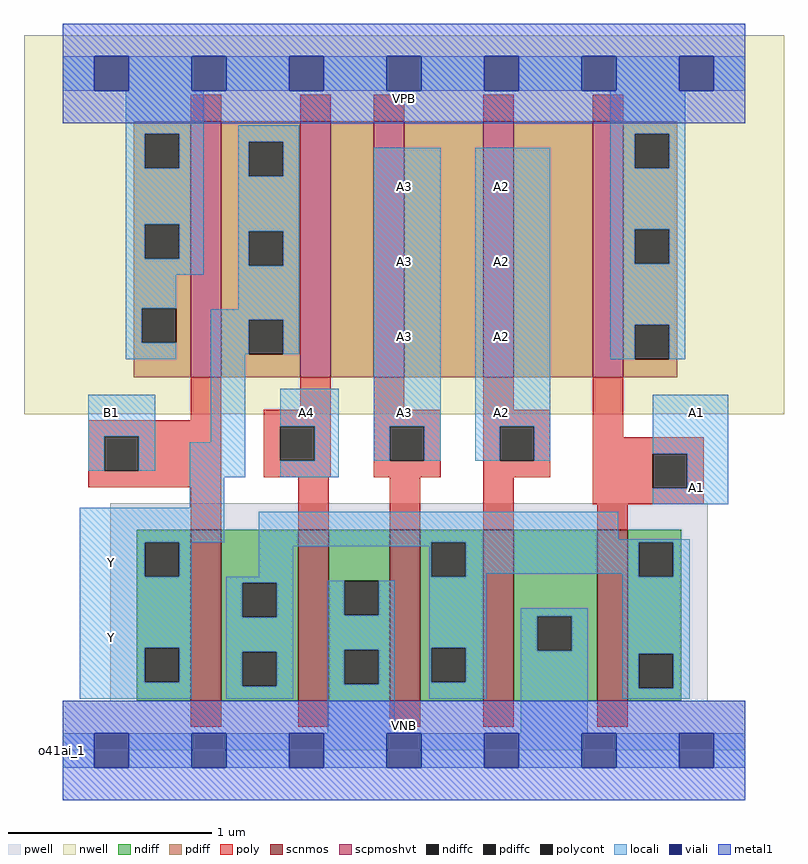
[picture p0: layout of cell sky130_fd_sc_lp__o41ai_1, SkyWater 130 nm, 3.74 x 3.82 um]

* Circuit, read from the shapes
.subckt sky130_fd_sc_lp__o41ai_1 A1 A2 A3 A4 B1 VGND VNB VPB VPWR Y
XM1 n1 B1 Y VNB sky130_fd_pr__nfet_01v8 w=0.84 l=0.15
XM2 VGND A4 n1 VNB sky130_fd_pr__nfet_01v8 w=0.84 l=0.15
XM3 n1 A3 VGND VNB sky130_fd_pr__nfet_01v8 w=0.84 l=0.15
XM4 VGND A2 n1 VNB sky130_fd_pr__nfet_01v8 w=0.84 l=0.15
XM5 n1 A1 VGND VNB sky130_fd_pr__nfet_01v8 w=0.84 l=0.15
XM6 Y B1 VPWR VPB sky130_fd_pr__pfet_01v8_hvt w=1.26 l=0.15
XM7 n2 A4 Y VPB sky130_fd_pr__pfet_01v8_hvt w=1.26 l=0.15
XM8 n3 A3 n2 VPB sky130_fd_pr__pfet_01v8_hvt w=1.26 l=0.15
XM9 n4 A2 n3 VPB sky130_fd_pr__pfet_01v8_hvt w=1.26 l=0.15
XM10 VPWR A1 n4 VPB sky130_fd_pr__pfet_01v8_hvt w=1.26 l=0.15
.ends

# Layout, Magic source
magic
tech sky130A
magscale 1 2
<< nwell >>
rect -38 331 710 704
<< pwell >>
rect 47 49 635 243
rect 0 0 672 49
<< scnmos >>
rect 126 49 156 217
rect 232 49 262 217
rect 322 49 352 217
rect 414 49 444 217
rect 526 49 556 217
<< scpmoshvt >>
rect 126 367 156 619
rect 234 367 264 619
rect 306 367 336 619
rect 414 367 444 619
rect 522 367 552 619
<< ndiff >>
rect 73 205 126 217
rect 73 171 81 205
rect 115 171 126 205
rect 73 101 126 171
rect 73 67 81 101
rect 115 67 126 101
rect 73 49 126 67
rect 156 165 232 217
rect 156 131 177 165
rect 211 131 232 165
rect 156 97 232 131
rect 156 63 177 97
rect 211 63 232 97
rect 156 49 232 63
rect 262 167 322 217
rect 262 133 277 167
rect 311 133 322 167
rect 262 99 322 133
rect 262 65 277 99
rect 311 65 322 99
rect 262 49 322 65
rect 352 205 414 217
rect 352 171 363 205
rect 397 171 414 205
rect 352 101 414 171
rect 352 67 363 101
rect 397 67 414 101
rect 352 49 414 67
rect 444 132 526 217
rect 444 98 467 132
rect 501 98 526 132
rect 444 49 526 98
rect 556 205 609 217
rect 556 171 567 205
rect 601 171 609 205
rect 556 95 609 171
rect 556 61 567 95
rect 601 61 609 95
rect 556 49 609 61
<< pdiff >>
rect 70 607 126 619
rect 70 573 81 607
rect 115 573 126 607
rect 70 518 126 573
rect 70 484 81 518
rect 115 484 126 518
rect 70 435 126 484
rect 70 401 78 435
rect 112 401 126 435
rect 70 367 126 401
rect 156 599 234 619
rect 156 565 183 599
rect 217 565 234 599
rect 156 511 234 565
rect 156 477 183 511
rect 217 477 234 511
rect 156 424 234 477
rect 156 390 183 424
rect 217 390 234 424
rect 156 367 234 390
rect 264 367 306 619
rect 336 367 414 619
rect 444 367 522 619
rect 552 607 605 619
rect 552 573 563 607
rect 597 573 605 607
rect 552 513 605 573
rect 552 479 563 513
rect 597 479 605 513
rect 552 419 605 479
rect 552 385 563 419
rect 597 385 605 419
rect 552 367 605 385
<< ndiffc >>
rect 81 171 115 205
rect 81 67 115 101
rect 177 131 211 165
rect 177 63 211 97
rect 277 133 311 167
rect 277 65 311 99
rect 363 171 397 205
rect 363 67 397 101
rect 467 98 501 132
rect 567 171 601 205
rect 567 61 601 95
<< pdiffc >>
rect 81 573 115 607
rect 81 484 115 518
rect 78 401 112 435
rect 183 565 217 599
rect 183 477 217 511
rect 183 390 217 424
rect 563 573 597 607
rect 563 479 597 513
rect 563 385 597 419
<< poly >>
rect 126 619 156 645
rect 234 619 264 645
rect 306 619 336 645
rect 414 619 444 645
rect 522 619 552 645
rect 126 325 156 367
rect 234 335 264 367
rect 25 309 156 325
rect 25 275 41 309
rect 75 275 156 309
rect 25 259 156 275
rect 198 319 264 335
rect 198 285 214 319
rect 248 285 264 319
rect 198 269 264 285
rect 306 335 336 367
rect 414 335 444 367
rect 306 319 372 335
rect 306 285 322 319
rect 356 285 372 319
rect 306 269 372 285
rect 414 319 480 335
rect 414 285 430 319
rect 464 285 480 319
rect 414 269 480 285
rect 522 308 552 367
rect 522 292 631 308
rect 126 217 156 259
rect 232 217 262 269
rect 322 217 352 269
rect 414 217 444 269
rect 522 258 581 292
rect 615 258 631 292
rect 522 242 631 258
rect 526 217 556 242
rect 126 23 156 49
rect 232 23 262 49
rect 322 23 352 49
rect 414 23 444 49
rect 526 23 556 49
<< polycont >>
rect 41 275 75 309
rect 214 285 248 319
rect 322 285 356 319
rect 430 285 464 319
rect 581 258 615 292
<< locali >>
rect 0 649 31 683
rect 65 649 127 683
rect 161 649 223 683
rect 257 649 319 683
rect 353 649 415 683
rect 449 649 511 683
rect 545 649 607 683
rect 641 649 672 683
rect 62 607 139 649
rect 62 573 81 607
rect 115 573 139 607
rect 62 518 139 573
rect 62 484 81 518
rect 115 484 139 518
rect 62 468 139 484
rect 173 599 233 615
rect 173 565 183 599
rect 217 565 233 599
rect 539 607 613 649
rect 173 511 233 565
rect 173 477 183 511
rect 217 477 233 511
rect 62 435 112 468
rect 62 401 78 435
rect 173 434 233 477
rect 62 385 112 401
rect 146 424 233 434
rect 146 390 183 424
rect 217 390 233 424
rect 25 309 91 350
rect 25 275 41 309
rect 75 275 91 309
rect 146 303 180 390
rect 125 269 180 303
rect 214 319 272 356
rect 248 285 272 319
rect 306 319 372 593
rect 306 285 322 319
rect 356 285 372 319
rect 406 319 480 593
rect 539 573 563 607
rect 597 573 613 607
rect 539 513 613 573
rect 539 479 563 513
rect 597 479 613 513
rect 539 419 613 479
rect 539 385 563 419
rect 597 385 613 419
rect 406 285 430 319
rect 464 285 480 319
rect 581 292 655 350
rect 214 269 272 285
rect 125 239 159 269
rect 615 258 655 292
rect 581 242 655 258
rect 17 205 159 239
rect 193 208 547 235
rect 193 205 617 208
rect 17 171 81 205
rect 115 171 127 205
rect 193 201 363 205
rect 193 171 227 201
rect 17 101 127 171
rect 17 67 81 101
rect 115 67 127 101
rect 17 51 127 67
rect 161 165 227 171
rect 361 171 363 201
rect 397 174 567 205
rect 397 171 417 174
rect 161 131 177 165
rect 211 131 227 165
rect 161 97 227 131
rect 161 63 177 97
rect 211 63 227 97
rect 161 51 227 63
rect 261 133 277 167
rect 311 133 327 167
rect 261 99 327 133
rect 261 65 277 99
rect 311 65 327 99
rect 261 17 327 65
rect 361 101 417 171
rect 551 171 567 174
rect 601 171 617 205
rect 361 67 363 101
rect 397 67 417 101
rect 361 51 417 67
rect 451 132 517 140
rect 451 98 467 132
rect 501 98 517 132
rect 451 17 517 98
rect 551 95 617 171
rect 551 61 567 95
rect 601 61 617 95
rect 551 51 617 61
rect 0 -17 31 17
rect 65 -17 127 17
rect 161 -17 223 17
rect 257 -17 319 17
rect 353 -17 415 17
rect 449 -17 511 17
rect 545 -17 607 17
rect 641 -17 672 17
<< viali >>
rect 31 649 65 683
rect 127 649 161 683
rect 223 649 257 683
rect 319 649 353 683
rect 415 649 449 683
rect 511 649 545 683
rect 607 649 641 683
rect 31 -17 65 17
rect 127 -17 161 17
rect 223 -17 257 17
rect 319 -17 353 17
rect 415 -17 449 17
rect 511 -17 545 17
rect 607 -17 641 17
<< metal1 >>
rect 0 683 672 715
rect 0 649 31 683
rect 65 649 127 683
rect 161 649 223 683
rect 257 649 319 683
rect 353 649 415 683
rect 449 649 511 683
rect 545 649 607 683
rect 641 649 672 683
rect 0 617 672 649
rect 0 17 672 49
rect 0 -17 31 17
rect 65 -17 127 17
rect 161 -17 223 17
rect 257 -17 319 17
rect 353 -17 415 17
rect 449 -17 511 17
rect 545 -17 607 17
rect 641 -17 672 17
rect 0 -49 672 -17
<< labels >>
flabel pwell s 0 0 672 49 0 FreeSans 200 0 0 0 VNB
port 7 nsew ground bidirectional
flabel nwell s 0 617 672 666 0 FreeSans 200 0 0 0 VPB
port 8 nsew power bidirectional
rlabel comment s 0 0 0 0 4 o41ai_1
flabel metal1 s 0 617 672 666 0 FreeSans 340 0 0 0 VPWR
port 9 nsew power bidirectional
flabel metal1 s 0 0 672 49 0 FreeSans 340 0 0 0 VGND
port 6 nsew ground bidirectional
flabel locali s 607 242 641 276 0 FreeSans 340 0 0 0 A1
port 1 nsew signal input
flabel locali s 607 316 641 350 0 FreeSans 340 0 0 0 A1
port 1 nsew signal input
flabel locali s 415 316 449 350 0 FreeSans 340 0 0 0 A2
port 2 nsew signal input
flabel locali s 319 316 353 350 0 FreeSans 340 0 0 0 A3
port 3 nsew signal input
flabel locali s 415 464 449 498 0 FreeSans 340 0 0 0 A2
port 2 nsew signal input
flabel locali s 223 316 257 350 0 FreeSans 340 0 0 0 A4
port 4 nsew signal input
flabel locali s 31 168 65 202 0 FreeSans 340 0 0 0 Y
port 10 nsew signal output
flabel locali s 31 94 65 128 0 FreeSans 340 0 0 0 Y
port 10 nsew signal output
flabel locali s 319 390 353 424 0 FreeSans 340 0 0 0 A3
port 3 nsew signal input
flabel locali s 415 390 449 424 0 FreeSans 340 0 0 0 A2
port 2 nsew signal input
flabel locali s 319 464 353 498 0 FreeSans 340 0 0 0 A3
port 3 nsew signal input
flabel locali s 31 316 65 350 0 FreeSans 340 0 0 0 B1
port 5 nsew signal input
flabel locali s 415 538 449 572 0 FreeSans 340 0 0 0 A2
port 2 nsew signal input
flabel locali s 319 538 353 572 0 FreeSans 340 0 0 0 A3
port 3 nsew signal input
<< properties >>
string LEFsite unit
string LEFclass CORE
string FIXED_BBOX 0 0 672 666
string GDS_FILE $PDKPATH/libs.ref/sky130_fd_sc_lp/gds/sky130_fd_sc_lp.gds
string LEFsymmetry X Y R90
string GDS_END 6617418
string GDS_START 6610376
<< end >>
